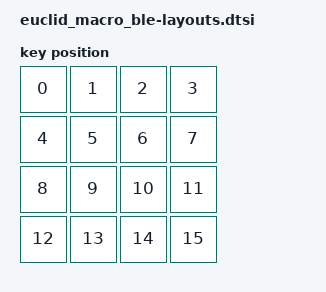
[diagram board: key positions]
#include <physical_layouts.dtsi>

/ {
    euclid_macro_ble_physical_layout: euclid_macro_ble_physical_layout {
        compatible = "zmk,physical-layout";
        display-name = "euclid_macro_ble";
        transform = <&default_transform>;
        kscan = <&kscan0>;
        keys  //                     w   h    x    y     rot    rx    ry
            = <&key_physical_attrs 100 100    0    0       0     0     0>
            , <&key_physical_attrs 100 100  100    0       0     0     0>
            , <&key_physical_attrs 100 100  200    0       0     0     0>
            , <&key_physical_attrs 100 100  300    0       0     0     0>
            
            , <&key_physical_attrs 100 100    0  100       0     0     0>
            , <&key_physical_attrs 100 100  100  100       0     0     0>
            , <&key_physical_attrs 100 100  200  100       0     0     0>
            , <&key_physical_attrs 100 100  300  100       0     0     0>
            
            , <&key_physical_attrs 100 100    0  200       0     0     0>
            , <&key_physical_attrs 100 100  100  200       0     0     0>
            , <&key_physical_attrs 100 100  200  200       0     0     0>
            , <&key_physical_attrs 100 100  300  200       0     0     0>
            
            , <&key_physical_attrs 100 100    0  300       0     0     0>
            , <&key_physical_attrs 100 100  100  300       0     0     0>
            , <&key_physical_attrs 100 100  200  300       0     0     0>
            , <&key_physical_attrs 100 100  300  300       0     0     0>
            
            ;
    };
}; 
